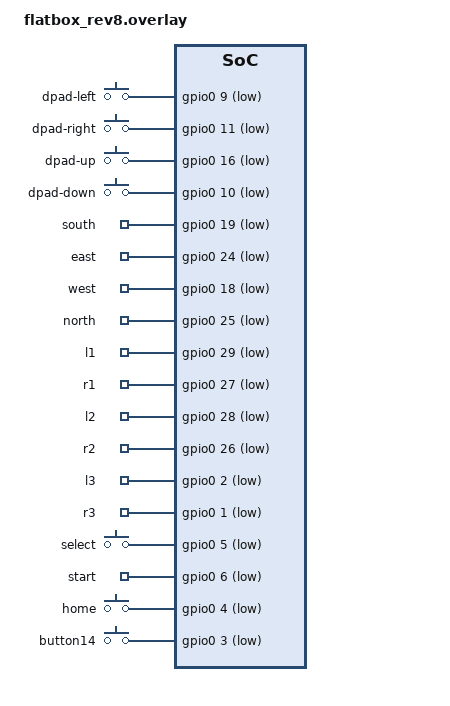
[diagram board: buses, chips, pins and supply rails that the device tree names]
/ {
    gamepad-buttons {
        compatible = "gpio-keys";
        /* Flatbox rev4/rev8 */
        dpad-left { gpios = <&gpio0 9 (GPIO_PULL_UP | GPIO_ACTIVE_LOW)>; };
        dpad-right { gpios = <&gpio0 11 (GPIO_PULL_UP | GPIO_ACTIVE_LOW)>; };
        dpad-up { gpios = <&gpio0 16 (GPIO_PULL_UP | GPIO_ACTIVE_LOW)>; };
        dpad-down { gpios = <&gpio0 10 (GPIO_PULL_UP | GPIO_ACTIVE_LOW)>; };
        south { gpios = <&gpio0 19 (GPIO_PULL_UP | GPIO_ACTIVE_LOW)>; };
        east { gpios = <&gpio0 24 (GPIO_PULL_UP | GPIO_ACTIVE_LOW)>; };
        west { gpios = <&gpio0 18 (GPIO_PULL_UP | GPIO_ACTIVE_LOW)>; };
        north { gpios = <&gpio0 25 (GPIO_PULL_UP | GPIO_ACTIVE_LOW)>; };
        l1 { gpios = <&gpio0 29 (GPIO_PULL_UP | GPIO_ACTIVE_LOW)>; };
        r1 { gpios = <&gpio0 27 (GPIO_PULL_UP | GPIO_ACTIVE_LOW)>; };
        l2 { gpios = <&gpio0 28 (GPIO_PULL_UP | GPIO_ACTIVE_LOW)>; };
        r2 { gpios = <&gpio0 26 (GPIO_PULL_UP | GPIO_ACTIVE_LOW)>; };
        l3 { gpios = <&gpio0 2 (GPIO_PULL_UP | GPIO_ACTIVE_LOW)>; };
        r3 { gpios = <&gpio0 1 (GPIO_PULL_UP | GPIO_ACTIVE_LOW)>; };
        select { gpios = <&gpio0 5 (GPIO_PULL_UP | GPIO_ACTIVE_LOW)>; };
        start { gpios = <&gpio0 6 (GPIO_PULL_UP | GPIO_ACTIVE_LOW)>; };
        home { gpios = <&gpio0 4 (GPIO_PULL_UP | GPIO_ACTIVE_LOW)>; };
        button14 { gpios = <&gpio0 3 (GPIO_PULL_UP | GPIO_ACTIVE_LOW)>; };
    };

    aliases {
        sys-button = "/gamepad-buttons/start";
    };
};
